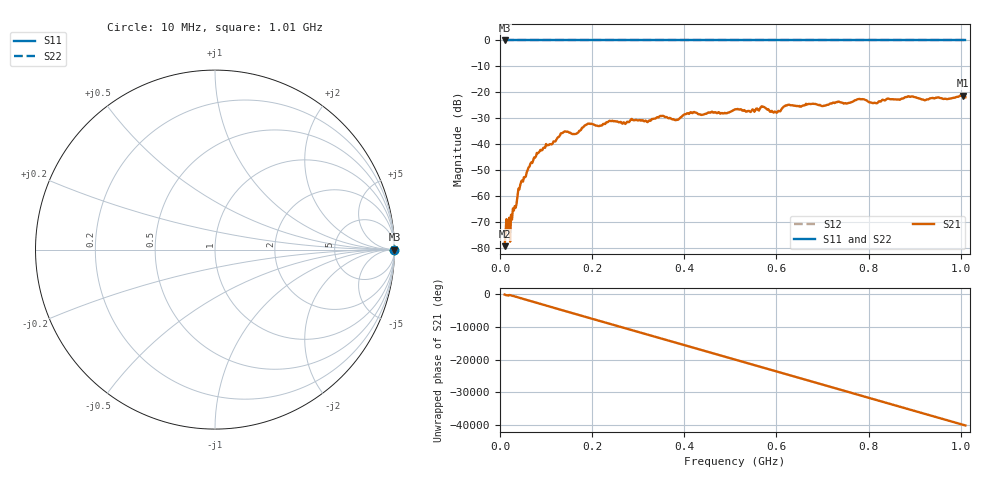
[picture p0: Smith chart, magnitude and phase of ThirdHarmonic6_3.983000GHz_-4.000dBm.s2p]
! 8/17/2025 2:11:22 PM
! C:\ANRITSUVNA\TEMP\TEMP.S2P
! CHANNEL.1
! TR.MEASUREMENT
! RAW.DATA
! RF.CORRECTION.OFF
! AVERAGING.OFF
! IF.BANDWIDTH: 5KHZ
! SWEEPTYPE:  FREQ.SWEEP(Linear)
! Reference Plane Port Info
! PORT:  PORT1  PORT2
! DISTANCE:  0  m  0  m
! TIME:  0  s  0  s
! PHASE.OFFSET:  0  deg.  0  deg.
! LOSS:  0  dB  0  dB
! REF.LOSS:  0  dB  0  dB
! REF.FREQ:  0  Hz  0  Hz
! Power Info
! POWER:  -20  dBm  -20  dBm
! EFF.POWER:  -20  dBm  -20  dBm
! SOURCE.ATTEN:  0  dB  0  dB
! TEST.ATTEN:  0  dB  0  dB
# GHZ S RI R 50.0
! FREQ.GHZ  S11RE  S11IM  S21RE  S21IM  S12RE  S12IM  S22RE  S22IM
!; PortSelection: Port_12
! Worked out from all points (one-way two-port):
!   501 points, 10 MHz to 1.01 GHz, reference 50 ohm
!   highest |S21| = -21.30 dB at 1.004 GHz (marker M1); lowest = -79.4 dB at 10 MHz (marker M2)
!   lowest |S11| = 0.0 dB at 10 MHz (marker M3)
!   |S11| at or under -10 dB: nowhere
!   |S22| runs from 0.0 to 0.0 dB; largest |S21 - S12| = 1.1
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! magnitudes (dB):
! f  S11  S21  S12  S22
! 10 MHz  0.0  -79.4  0.0  0.0
! 16 MHz  0.0  -73.2  0.0  0.0
! 20 MHz  0.0  -68.4  0.0  0.0
! 26 MHz  0.0  -69.1  0.0  0.0
! 44 MHz  0.0  -55.7  0.0  0.0
! 78 MHz  0.0  -44.8  0.0  0.0
! 136 MHz  0.0  -35.7  0.0  0.0
! 162 MHz  0.0  -36.1  0.0  0.0
! 178 MHz  0.0  -33.7  0.0  0.0
! 194 MHz  0.0  -32.1  0.0  0.0
! 322 MHz  0.0  -31.2  0.0  0.0
! 344 MHz  0.0  -29.7  0.0  0.0
! 382 MHz  0.0  -30.7  0.0  0.0
! 418 MHz  0.0  -28.0  0.0  0.0
! 510 MHz  0.0  -26.6  0.0  0.0
! 570 MHz  0.0  -25.6  0.0  0.0
! 598 MHz  0.0  -27.6  0.0  0.0
! 624 MHz  0.0  -24.9  0.0  0.0
! 678 MHz  0.0  -24.4  0.0  0.0
! 844 MHz  0.0  -22.5  0.0  0.0
! 1.004 GHz  0.0  -21.3  0.0  0.0
! 1.01 GHz  0.0  -21.9  0.0  0.0
